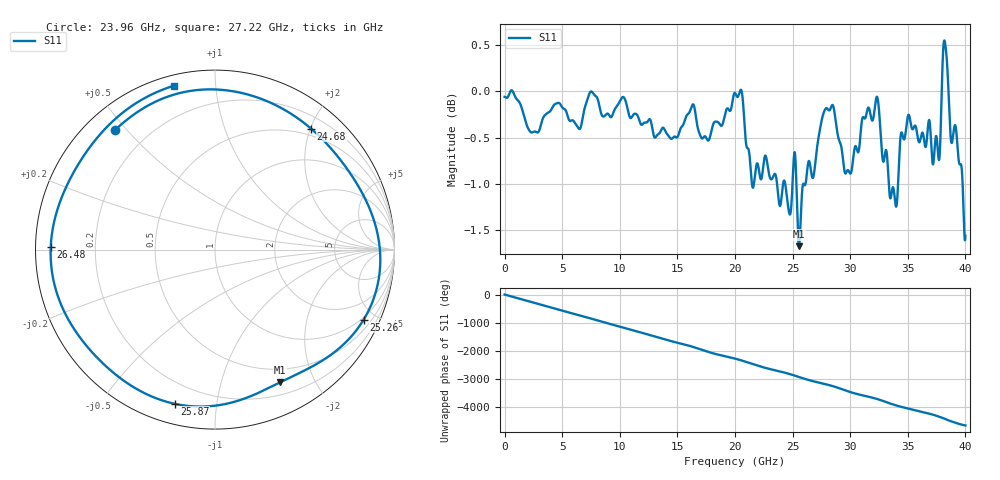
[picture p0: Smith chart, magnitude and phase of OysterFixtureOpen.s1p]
# MHz MA S R 50.0
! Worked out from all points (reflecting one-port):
!   8000 points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, 5 MHz to 40 GHz, reference 50 ohm
!   lowest |S11| = -1.7 dB at 25.55 GHz (marker M1), VSWR 10.37, Z = 16.8 - j77.6 ohm
!   phase of S11 starts at -1 deg and turns -4672 deg over the sweep
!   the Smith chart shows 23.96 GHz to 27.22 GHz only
!   S11 on the Smith chart (normalised r, x): 23.96 GHz: 0.09, +0.46; 24.68 GHz: 0.39, +2.01; 25.26 GHz: 0.89, -4.30; 25.87 GHz: 0.09, -0.77; 26.48 GHz: 0.04, +0.01; 27.22 GHz: 0.05, +0.78
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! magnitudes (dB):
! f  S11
! 5 MHz  -0.1
! 2.37 GHz  -0.4
! 5.005 GHz  -0.2
! 10.01 GHz  -0.1
! 15.01 GHz  -0.5
! 17.69 GHz  -0.5
! 20 GHz  0.0
! 20.58 GHz  0.0
! 21.54 GHz  -1.0
! 22.66 GHz  -0.7
! 23.96 GHz  -1.2
! 24.68 GHz  -1.3
! 25 GHz  -1.0
! 25.26 GHz  -0.8
! 25.55 GHz  -1.7
! 25.87 GHz  -1.0
! 26.48 GHz  -0.8
! 27.22 GHz  -0.5
! 28.45 GHz  -0.1
! 30 GHz  -0.9
! 32.31 GHz  -0.1
! 33.95 GHz  -1.2
! 35.01 GHz  -0.3
! 37.66 GHz  -0.7
! 38.23 GHz  0.5
! 38.74 GHz  -0.5
! 39.22 GHz  -0.4
! 40 GHz  -1.6
